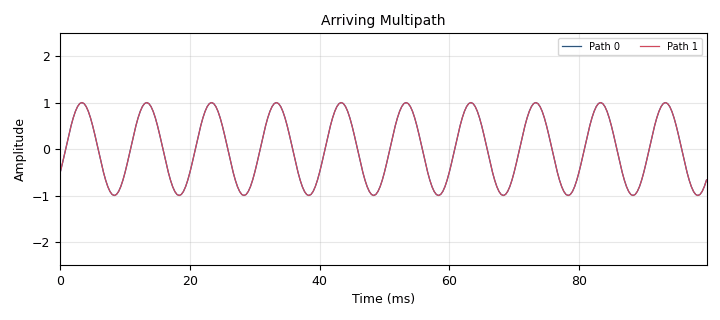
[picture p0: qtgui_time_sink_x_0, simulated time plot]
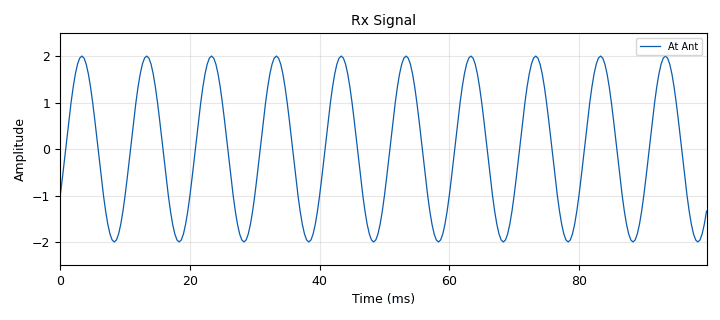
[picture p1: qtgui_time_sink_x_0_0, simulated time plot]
options:
  parameters:
    author: Qasim Chaudhari
    generate_options: qt_gui
    id: multipath_channel_doppler_cw
    output_language: python
    title: Multipath Channel Doppler CW
  states: {}

blocks:
- name: disp_points
  id: variable
  parameters:
    value: '300'
  states: {}
- name: doppler_path_0
  id: variable_qtgui_range
  parameters:
    gui_hint: 0,0,1,1
    label: Doppler Path 0
    orient: Qt.Horizontal
    start: '-10'
    step: '1'
    stop: '10'
    value: '0'
  states: {}
- name: doppler_path_1
  id: variable_qtgui_range
  parameters:
    gui_hint: 1,0,1,1
    label: Doppler Path 1
    orient: Qt.Horizontal
    start: '-10'
    step: '1'
    stop: '10'
    value: '0'
  states: {}
- name: samp_rate
  id: variable
  parameters:
    value: '3000'
  states: {}
- name: analog_sig_source_x_0
  id: analog_sig_source_x
  parameters:
    amp: '1'
    comment: Continuous Wave 1
    freq: 100+doppler_path_0
    offset: '0'
    phase: '0'
    samp_rate: samp_rate
    type: float
    waveform: analog.GR_COS_WAVE
  states: {}
- name: analog_sig_source_x_0_0
  id: analog_sig_source_x
  parameters:
    amp: '1'
    comment: Continuous Wave 2
    freq: 100+doppler_path_1
    offset: '0'
    phase: '0'
    samp_rate: samp_rate
    type: float
    waveform: analog.GR_COS_WAVE
  states: {}
- name: blocks_add_xx_0
  id: blocks_add_xx
  parameters:
    comment: Rx Antenna
    type: float
  states: {}
- name: blocks_throttle_0
  id: blocks_throttle
  parameters:
    samples_per_second: samp_rate
    type: float
  states: {}
- name: blocks_throttle_0_0
  id: blocks_throttle
  parameters:
    samples_per_second: samp_rate
    type: float
  states: {}
- name: qtgui_time_sink_x_0
  id: qtgui_time_sink_x
  parameters:
    ctrlpanel: 'True'
    grid: 'True'
    gui_hint: 0,1,1,2
    label1: Path 0
    label2: Path 1
    name: Arriving Multipath
    nconnections: '2'
    size: disp_points
    srate: samp_rate
    style2: '2'
    type: float
    ymax: '2.5'
    ymin: '-2.5'
  states: {}
- name: qtgui_time_sink_x_0_0
  id: qtgui_time_sink_x
  parameters:
    color1: red
    ctrlpanel: 'True'
    grid: 'True'
    gui_hint: 1,1,1,2
    label1: At Ant
    name: Rx Signal
    size: disp_points
    srate: samp_rate
    type: float
    ymax: '2.5'
    ymin: '-2.5'
  states: {}

connections:
- [analog_sig_source_x_0, '0', blocks_throttle_0, '0']
- [analog_sig_source_x_0_0, '0', blocks_throttle_0_0, '0']
- [blocks_add_xx_0, '0', qtgui_time_sink_x_0_0, '0']
- [blocks_throttle_0, '0', blocks_add_xx_0, '0']
- [blocks_throttle_0, '0', qtgui_time_sink_x_0, '0']
- [blocks_throttle_0_0, '0', blocks_add_xx_0, '1']
- [blocks_throttle_0_0, '0', qtgui_time_sink_x_0, '1']

metadata:
  file_format: 1
